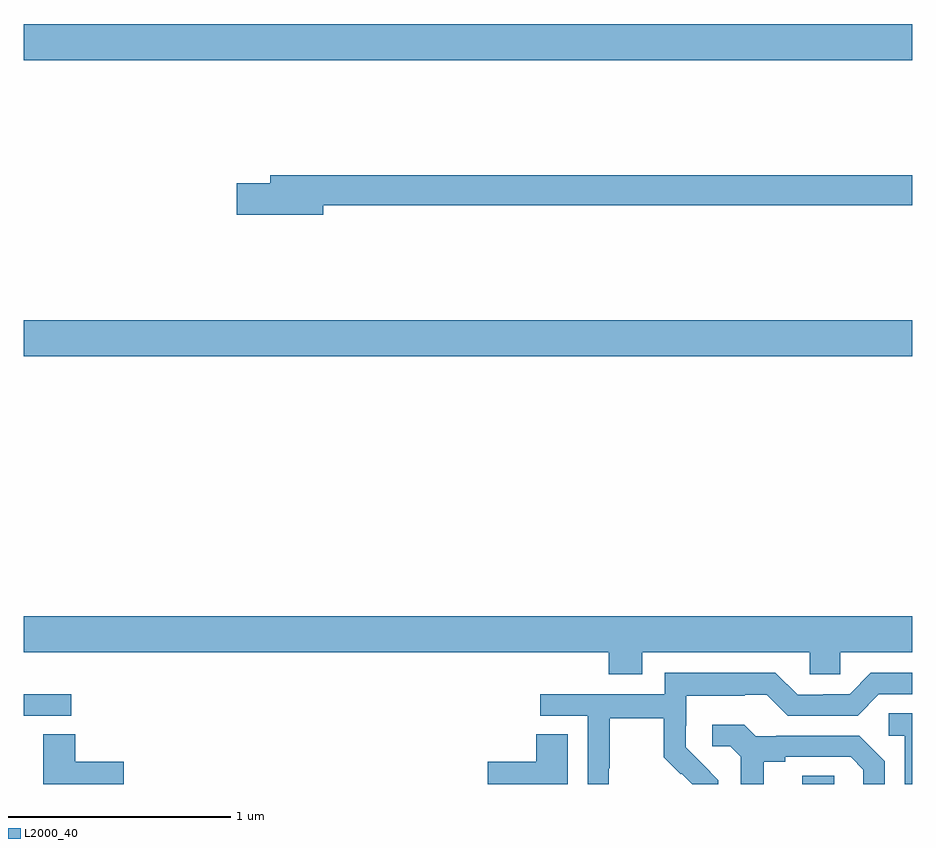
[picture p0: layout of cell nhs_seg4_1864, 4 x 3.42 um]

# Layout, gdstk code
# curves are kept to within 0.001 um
import gdstk
lib = gdstk.Library(unit=1e-6, precision=1e-09)
def R(c, l, rs):  # rectangles x0, y0, x1, y1
    for r in rs: c.add(gdstk.rectangle(r[:2], r[2:], *l))
def P(c, l, *ps):  # polygons
    for p in ps: c.add(gdstk.Polygon(p, *l))
L2000_40 = (2000, 40)

nhs_seg4_1864 = lib.new_cell('nhs_seg4_1864')
R(nhs_seg4_1864, L2000_40, [(210.503,790.9,210.648,790.937), (207,791.208,207.214,791.304), (207,792.824,211,792.988), (207,794.156,211,794.32)])
P(nhs_seg4_1864, L2000_40, [(208.348,793.504),(211,793.504),(211,793.64),(208.109,793.64),(208.109,793.604),(207.96,793.604),(207.96,793.462),(208.348,793.462)],
  [(209.785,791.492),(210.537,791.492),(210.537,791.394),(210.675,791.394),(210.675,791.492),(211,791.492),(211,791.656),(207,791.656),(207,791.492),(209.633,791.492),(209.633,791.393),(209.785,791.393)],
  [(209.634,790.972),(209.637,790.972),(209.637,791.196),(209.881,791.196),(209.881,791.021),(209.958,790.944),(209.961,790.947),(210.009,790.9),(210.126,790.9),(210.126,790.918),(209.98,791.066),(209.98,791.163),(209.982,791.163),(209.982,791.297),(210.245,791.297),(210.245,791.301),(210.345,791.301),(210.438,791.208),(210.753,791.208),(210.849,791.304),(211,791.304),(211,791.4),(210.813,791.4),(210.717,791.304),(210.599,791.304),(210.599,791.301),(210.483,791.301),(210.383,791.401),(209.886,791.401),(209.886,791.304),(209.325,791.304),(209.325,791.208),(209.538,791.208),(209.538,790.9),(209.634,790.9)],
  [(211,791.219),(210.894,791.219),(210.894,791.118),(210.966,791.118),(210.966,790.9),(211,790.9)],
  [(210.331,791),(210.427,791),(210.427,791.022),(210.722,791.022),(210.779,790.965),(210.779,790.9),(210.876,790.9),(210.876,791.002),(210.76,791.118),(210.388,791.118),(210.388,791.115),(210.294,791.115),(210.242,791.167),(210.099,791.167),(210.099,791.07),(210.18,791.07),(210.227,791.023),(210.227,790.9),(210.331,790.9)],
  [(207.451,791),(207.233,791),(207.233,791.123),(207.089,791.123),(207.089,790.9),(207.451,790.9)],
  [(209.449,791.123),(209.306,791.123),(209.306,791),(209.088,791),(209.088,790.9),(209.449,790.9)])

lib.write_gds('nhs_seg4_1864.gds')
